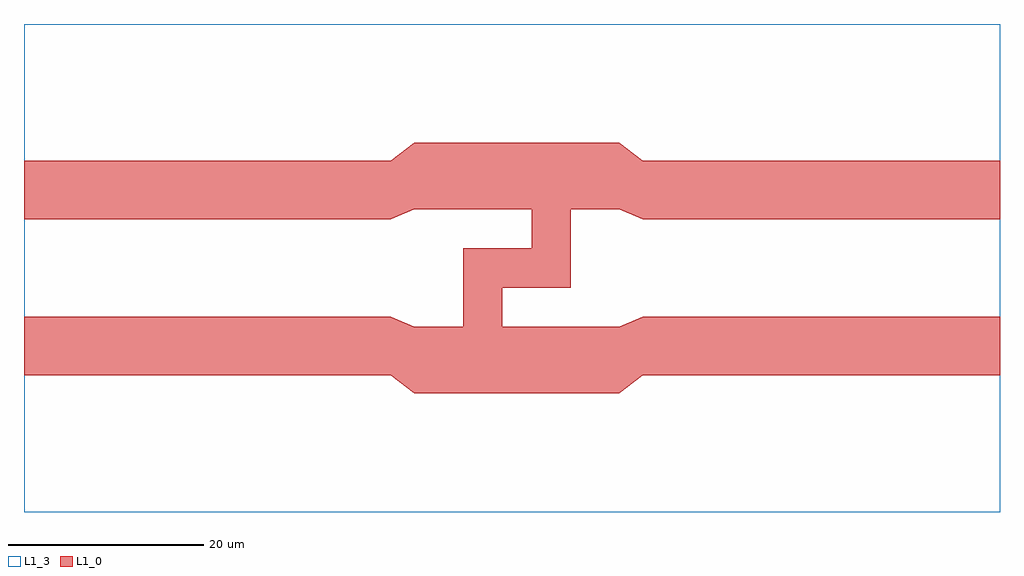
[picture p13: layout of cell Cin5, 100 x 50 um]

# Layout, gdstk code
import gdstk
lib = gdstk.Library(unit=1e-6, precision=1e-09)
def R(c, l, rs):  # rectangles x0, y0, x1, y1
    for r in rs: c.add(gdstk.rectangle(r[:2], r[2:], *l))
def P(c, l, *ps):  # polygons
    for p in ps: c.add(gdstk.Polygon(p, *l))
L1_0 = (1, 0)
L1_3 = (1, 3)

cin5 = lib.new_cell('Cin5')
R(cin5, L1_0, [(-10,-12.842,11,-6), (-10,6,11,12.842)])
P(cin5, L1_0, [(-5,-6),(-5,2),(2,2),(2,6),(6,6),(6,-2),(-1,-2),(-1,-6)],
  [(13.414,5),(11,6),(11,12.842),(13.414,11),(50,11),(50,5)],
  [(11,-12.841),(11,-6),(13.414,-5),(50,-5),(50,-11),(13.414,-11)],
  [(-10,-12.841),(-12.414,-11),(-50,-11),(-50,-5),(-12.414,-5),(-10,-6)],
  [(-50,5),(-50,11),(-12.414,11),(-10,12.842),(-10,6),(-12.414,5)])
R(cin5, L1_3, [(-50,-25,50,25)])

lib.write_gds('Cin5.gds')
